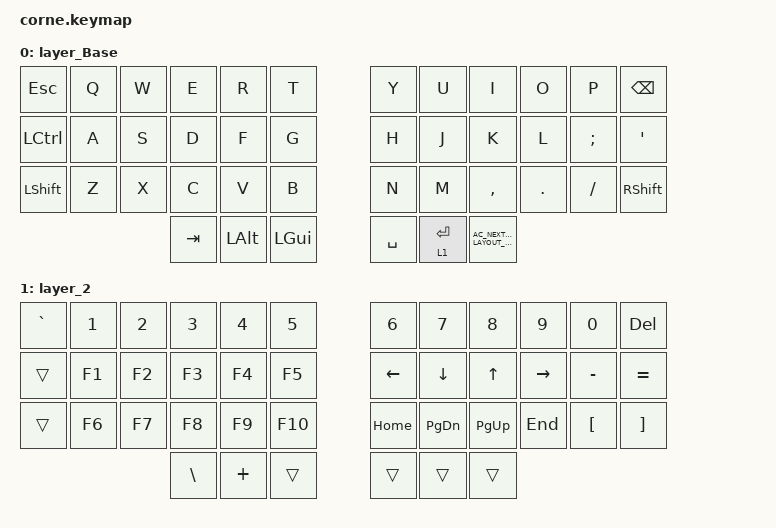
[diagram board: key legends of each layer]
/*
 * Copyright (c) 2020 The ZMK Contributors
 *
 * SPDX-License-Identifier: MIT
 */

#include <behaviors.dtsi>
#include <dt-bindings/zmk/keys.h>

/ {
    macros {
        new_macro: new_macro {
            compatible = "zmk,behavior-macro";
            #binding-cells = <0>;
            bindings = <&none>;
            label = "NEW_MACRO";
        };
    };

    keymap {
        compatible = "zmk,keymap";

        layer_Base {
            bindings = <
&kp ESC           &kp Q      &kp W   &kp E   &kp R   &kp T        &kp Y    &kp U      &kp I    &kp O    &kp P     &kp BSPC
&kp LCTRL         &kp A      &kp S   &kp D   &kp F   &kp G        &kp H    &kp J      &kp K    &kp L    &kp SEMI  &kp SQT
&kp LSHFT         &kp Z      &kp X   &kp C   &kp V   &kp B        &kp N    &kp M      &kp COMMA &kp DOT  &kp FSLH  &kp RSHFT
                            &kp TAB   &kp LALT &kp LGUI &kp SPACE  &lt 1 RET           &kp C_AC_NEXT_KEYBOARD_LAYOUT_SELECT
            >;
        };

        layer_2 {
            bindings = <
&kp GRAVE         &kp N1     &kp N2  &kp N3   &kp N4   &kp N5       &kp N6    &kp N7      &kp N8    &kp N9    &kp N0     &kp DEL
&trans            &kp F1     &kp F2  &kp F3   &kp F4   &kp F5       &kp LEFT  &kp DOWN    &kp UP    &kp RIGHT &kp MINUS  &kp EQUAL
&trans            &kp F6     &kp F7  &kp F8   &kp F9   &kp F10      &kp HOME  &kp PG_DN   &kp PG_UP &kp END   &kp LBKT   &kp RBKT
                                  &kp BSLH      &kp PLUS   &trans        &trans      &trans               &trans
            >;
        };
    };
};
